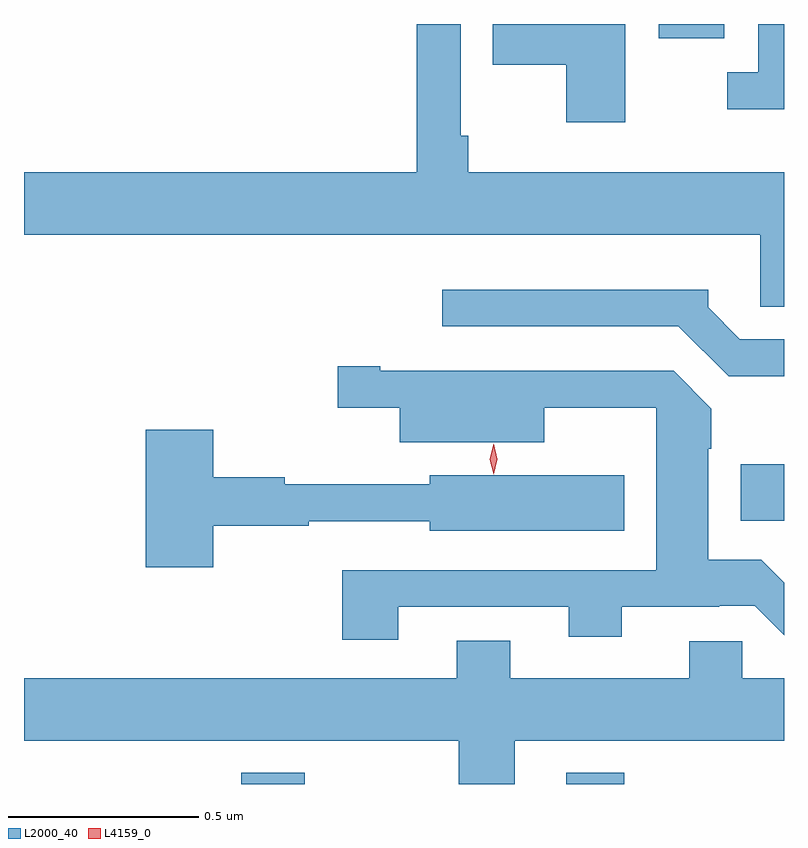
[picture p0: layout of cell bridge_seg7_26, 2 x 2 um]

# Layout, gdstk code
import gdstk
lib = gdstk.Library(unit=1e-6, precision=1e-09)
def R(c, l, rs):  # rectangles x0, y0, x1, y1
    for r in rs: c.add(gdstk.rectangle(r[:2], r[2:], *l))
def P(c, l, *ps):  # polygons
    for p in ps: c.add(gdstk.Polygon(p, *l))
L2000_40 = (2000, 40)
L4159_0 = (4159, 0)

bridge_seg7_26 = lib.new_cell('bridge_seg7_26')
R(bridge_seg7_26, L2000_40, [(1044.482,1077.758,1044.649,1077.787), (1045.337,1077.758,1045.49,1077.787), (1045.796,1078.451,1045.91,1078.6), (1045.58,1079.72,1045.753,1079.758)])
P(bridge_seg7_26, L2000_40, [(1045.91,1079.368),(1045.079,1079.368),(1045.079,1079.464),(1045.059,1079.464),(1045.059,1079.758),(1044.943,1079.758),(1044.943,1079.368),(1043.91,1079.368),(1043.91,1079.204),(1045.848,1079.204),(1045.848,1079.014),(1045.91,1079.014)],
  [(1045.91,1079.758),(1045.842,1079.758),(1045.842,1079.631),(1045.761,1079.631),(1045.761,1079.534),(1045.91,1079.534)],
  [(1045.492,1079.758),(1045.144,1079.758),(1045.144,1079.651),(1045.337,1079.651),(1045.337,1079.499),(1045.492,1079.499)],
  [(1045.91,1078.929),(1045.794,1078.929),(1045.71,1079.013),(1045.71,1079.059),(1045.011,1079.059),(1045.011,1078.962),(1045.632,1078.962),(1045.764,1078.831),(1045.91,1078.831)],
  [(1044.895,1078.224),(1045.343,1078.224),(1045.343,1078.145),(1045.483,1078.145),(1045.483,1078.224),(1045.739,1078.224),(1045.739,1078.227),(1045.833,1078.227),(1045.91,1078.15),(1045.91,1078.288),(1045.85,1078.348),(1045.711,1078.348),(1045.711,1078.64),(1045.719,1078.64),(1045.719,1078.746),(1045.62,1078.845),(1045.175,1078.845),(1045.175,1078.846),(1044.847,1078.846),(1044.847,1078.858),(1044.735,1078.858),(1044.735,1078.748),(1044.899,1078.748),(1044.899,1078.658),(1045.279,1078.658),(1045.279,1078.748),(1045.574,1078.748),(1045.574,1078.32),(1044.748,1078.32),(1044.748,1078.137),(1044.895,1078.137)],
  [(1044.408,1078.437),(1044.659,1078.437),(1044.659,1078.449),(1044.978,1078.449),(1044.978,1078.424),(1045.489,1078.424),(1045.489,1078.57),(1044.978,1078.57),(1044.978,1078.547),(1044.596,1078.547),(1044.596,1078.565),(1044.408,1078.565),(1044.408,1078.69),(1044.23,1078.69),(1044.23,1078.329),(1044.408,1078.329)],
  [(1045.201,1077.872),(1045.91,1077.872),(1045.91,1078.036),(1045.8,1078.036),(1045.8,1078.134),(1045.661,1078.134),(1045.661,1078.036),(1045.189,1078.036),(1045.189,1078.135),(1045.049,1078.135),(1045.049,1078.036),(1043.91,1078.036),(1043.91,1077.872),(1045.054,1077.872),(1045.054,1077.758),(1045.201,1077.758)])
P(bridge_seg7_26, L4159_0, [(1045.146,1078.573),(1045.146,1078.573),(1045.136,1078.613),(1045.146,1078.654),(1045.146,1078.654),(1045.146,1078.654),(1045.156,1078.613),(1045.146,1078.573)])

lib.write_gds('bridge_seg7_26.gds')
